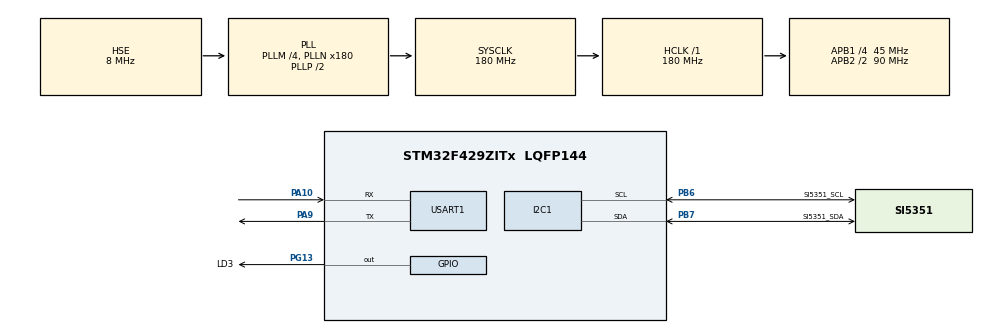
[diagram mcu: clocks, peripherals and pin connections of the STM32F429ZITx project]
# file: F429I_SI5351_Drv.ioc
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Mcu.Family=STM32F4
Mcu.Name=STM32F429ZITx
Mcu.Package=LQFP144
NVIC.PriorityGroup=NVIC_PRIORITYGROUP_4
PA10.Mode=Asynchronous
PA10.Signal=USART1_RX
PA13.Mode=Serial_Wire
PA13.Signal=SYS_JTMS-SWDIO
PA14.Mode=Serial_Wire
PA14.Signal=SYS_JTCK-SWCLK
PA9.Mode=Asynchronous
PA9.Signal=USART1_TX
PB6.GPIO_Label=SI5351_SCL
PB6.Mode=I2C
PB6.Signal=I2C1_SCL
PB7.GPIO_Label=SI5351_SDA
PB7.Mode=I2C
PB7.Signal=I2C1_SDA
PG13.GPIO_Label=LD3
PG13.Signal=GPIO_Output
PH0/OSC_IN.Mode=HSE-External-Clock-Source
PH0/OSC_IN.Signal=RCC_OSC_IN
PH1/OSC_OUT.Mode=HSE-External-Clock-Source
PH1/OSC_OUT.Signal=RCC_OSC_OUT
ProjectManager.HeapSize=0x200
ProjectManager.StackSize=0x400
ProjectManager.TargetToolchain=STM32CubeIDE
RCC.48MHZClocksFreq_Value=120000000
RCC.AHBFreq_Value=180000000
RCC.APB1CLKDivider=RCC_HCLK_DIV4
RCC.APB1Freq_Value=45000000
RCC.APB1TimFreq_Value=90000000
RCC.APB2CLKDivider=RCC_HCLK_DIV2
RCC.APB2Freq_Value=90000000
RCC.APB2TimFreq_Value=180000000
RCC.CortexFreq_Value=180000000
RCC.HCLKFreq_Value=180000000
RCC.HSE_VALUE=8000000
RCC.HSI_VALUE=16000000
RCC.LSE_VALUE=32768
RCC.PLLM=4
RCC.PLLN=180
RCC.PLLQ=3
RCC.PLLSAIN=50
RCC.PLLSourceVirtual=RCC_PLLSOURCE_HSE
RCC.SYSCLKFreq_VALUE=180000000
RCC.SYSCLKSource=RCC_SYSCLKSOURCE_PLLCLK
RCC.VCOOutputFreq_Value=360000000
USART1.VirtualMode=VM_ASYNC
board=STM32F429I-DISC1

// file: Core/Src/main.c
/* USER CODE BEGIN Header */
/**
  ******************************************************************************
  * @file           : main.c
  * @brief          : Main program body
  ******************************************************************************
  * @attention
  *
  * Copyright (c) 2022 STMicroelectronics.
  * All rights reserved.
  *
  * This software is licensed under terms that can be found in the LICENSE file
  * in the root directory of this software component.
  * If no LICENSE file comes with this software, it is provided AS-IS.
  *
  ******************************************************************************
  */
/* USER CODE END Header */
#include "main.h"
#include "i2c.h"
#include "usart.h"
#include "gpio.h"

/* USER CODE BEGIN Includes */
#include "si5351.h"
#include <string.h>
#include <stdlib.h>
#include <stdio.h>

/* USER CODE END Includes */

/* USER CODE BEGIN PV */
extern UART_HandleTypeDef huart1;

/* USER CODE END PV */

void SystemClock_Config(void);

/* USER CODE BEGIN 0 */

void UART_TransmitString(const char* str)
{
    HAL_UART_Transmit(&huart1, (uint8_t*)str, strlen(str), HAL_MAX_DELAY);
}

void I2C_Scan()
{
	UART_TransmitString("Scanning I2C bus...\r\n");
    HAL_StatusTypeDef res;
    for(uint16_t i = 0; i < 128; i++)
    {
        res = HAL_I2C_IsDeviceReady(&hi2c1, i << 1, 1, 10);
        if(res == HAL_OK)
        {
            char msg[64];
            snprintf(msg, sizeof(msg), "0x%02X", i);
			UART_TransmitString(msg);
        }
        else
        {
			UART_TransmitString(".");
        }
    }

	UART_TransmitString("\r\n");
}

/* USER CODE END 0 */

int main(void)
{

  /* MCU Configuration--------------------------------------------------------*/

  /* Reset of all peripherals, Initializes the Flash interface and the Systick. */
  HAL_Init();

  /* Configure the system clock */
  SystemClock_Config();

  /* Initialize all configured peripherals */
  MX_GPIO_Init();
  MX_I2C1_Init();
  MX_USART1_UART_Init();
  /* USER CODE BEGIN 2 */

  UART_TransmitString("Calling I2C_Scan()...\r\n");
  I2C_Scan();

  UART_TransmitString("Initializing Si5351...\r\n");
  const int32_t correction = 978;
  si5351_Init(correction);
  si5351_SetupCLK0(SI5351_CLK_10MHZ, SI5351_DRIVE_STRENGTH_2MA);
  si5351_SetupCLK2(2 * SI5351_CLK_10MHZ, SI5351_DRIVE_STRENGTH_2MA);
  si5351_EnableOutputs((1<<0) | (1<<2));
  UART_TransmitString("Ready!\r\n");

  /* USER CODE END 2 */

  /* Infinite loop */
  /* USER CODE BEGIN WHILE */
  while (1)
  {
	  HAL_GPIO_TogglePin(LD3_GPIO_Port, LD3_Pin);
	  HAL_Delay(1000);
    /* USER CODE END WHILE */

  }
}

void SystemClock_Config(void)
{
  RCC_OscInitTypeDef RCC_OscInitStruct = {0};
  RCC_ClkInitTypeDef RCC_ClkInitStruct = {0};

  /** Configure the main internal regulator output voltage
  */
  __HAL_RCC_PWR_CLK_ENABLE();
  __HAL_PWR_VOLTAGESCALING_CONFIG(PWR_REGULATOR_VOLTAGE_SCALE1);

  /** Initializes the RCC Oscillators according to the specified parameters
  * in the RCC_OscInitTypeDef structure.
  */
  RCC_OscInitStruct.OscillatorType = RCC_OSCILLATORTYPE_HSE;
  RCC_OscInitStruct.HSEState = RCC_HSE_BYPASS;
  RCC_OscInitStruct.PLL.PLLState = RCC_PLL_ON;
  RCC_OscInitStruct.PLL.PLLSource = RCC_PLLSOURCE_HSE;
  RCC_OscInitStruct.PLL.PLLM = 4;
  RCC_OscInitStruct.PLL.PLLN = 180;
  RCC_OscInitStruct.PLL.PLLP = RCC_PLLP_DIV2;
  RCC_OscInitStruct.PLL.PLLQ = 3;
  if (HAL_RCC_OscConfig(&RCC_OscInitStruct) != HAL_OK)
  {
    Error_Handler();
  }

  /** Activate the Over-Drive mode
  */
  if (HAL_PWREx_EnableOverDrive() != HAL_OK)
  {
    Error_Handler();
  }

  /** Initializes the CPU, AHB and APB buses clocks
  */
  RCC_ClkInitStruct.ClockType = RCC_CLOCKTYPE_HCLK|RCC_CLOCKTYPE_SYSCLK
                              |RCC_CLOCKTYPE_PCLK1|RCC_CLOCKTYPE_PCLK2;
  RCC_ClkInitStruct.SYSCLKSource = RCC_SYSCLKSOURCE_PLLCLK;
  RCC_ClkInitStruct.AHBCLKDivider = RCC_SYSCLK_DIV1;
  RCC_ClkInitStruct.APB1CLKDivider = RCC_HCLK_DIV4;
  RCC_ClkInitStruct.APB2CLKDivider = RCC_HCLK_DIV2;

  if (HAL_RCC_ClockConfig(&RCC_ClkInitStruct, FLASH_LATENCY_5) != HAL_OK)
  {
    Error_Handler();
  }
}

void Error_Handler(void)
{
  __disable_irq();
  while (1)
  {
  }
}
